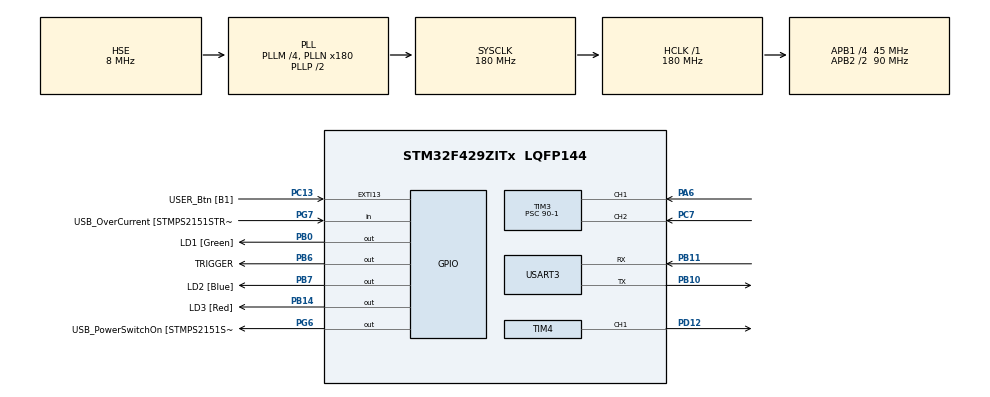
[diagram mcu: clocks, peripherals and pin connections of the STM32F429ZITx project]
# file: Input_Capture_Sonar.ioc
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Mcu.Family=STM32F4
Mcu.Name=STM32F429ZITx
Mcu.Package=LQFP144
NVIC.PriorityGroup=NVIC_PRIORITYGROUP_4
NVIC.TIM3_IRQn=true\:0\:0\:false\:false\:true\:true\:true
NVIC.TIM4_IRQn=true\:0\:0\:false\:false\:true\:true\:true
NVIC.USART3_IRQn=true\:0\:0\:false\:false\:true\:true\:true
PA1.GPIO_Label=RMII_REF_CLK [LAN8742A-CZ-TR_REFCLK0]
PA1.Signal=ETH_REF_CLK
PA10.GPIO_Label=USB_ID
PA10.Signal=USB_OTG_FS_ID
PA11.GPIO_Label=USB_DM
PA11.Signal=USB_OTG_FS_DM
PA12.GPIO_Label=USB_DP
PA12.Signal=USB_OTG_FS_DP
PA13.GPIO_Label=TMS
PA13.Mode=Serial_Wire
PA13.Signal=SYS_JTMS-SWDIO
PA14.GPIO_Label=TCK
PA14.Mode=Serial_Wire
PA14.Signal=SYS_JTCK-SWCLK
PA2.GPIO_Label=RMII_MDIO [LAN8742A-CZ-TR_MDIO]
PA2.Signal=ETH_MDIO
PA6.Signal=S_TIM3_CH1
PA7.GPIO_Label=RMII_CRS_DV [LAN8742A-CZ-TR_CRS_DV]
PA7.Signal=ETH_CRS_DV
PA8.GPIO_Label=USB_SOF [TP1]
PA8.Signal=USB_OTG_FS_SOF
PA9.GPIO_Label=USB_VBUS
PA9.Signal=USB_OTG_FS_VBUS
PB0.GPIO_Label=LD1 [Green]
PB0.Signal=GPIO_Output
PB10.Mode=Asynchronous
PB10.Signal=USART3_TX
PB11.Mode=Asynchronous
PB11.Signal=USART3_RX
PB13.GPIO_Label=RMII_TXD1 [LAN8742A-CZ-TR_TXD1]
PB13.Signal=ETH_TXD1
PB14.GPIO_Label=LD3 [Red]
PB14.Signal=GPIO_Output
PB6.GPIO_Label=TRIGGER
PB6.Signal=GPIO_Output
PB7.GPIO_Label=LD2 [Blue]
PB7.Signal=GPIO_Output
PC1.GPIO_Label=RMII_MDC [LAN8742A-CZ-TR_MDC]
PC1.Signal=ETH_MDC
PC13.GPIO_Label=USER_Btn [B1]
PC13.Signal=GPXTI13
PC14/OSC32_IN.Mode=LSE-External-Oscillator
PC14/OSC32_IN.Signal=RCC_OSC32_IN
PC15/OSC32_OUT.Mode=LSE-External-Oscillator
PC15/OSC32_OUT.Signal=RCC_OSC32_OUT
PC4.GPIO_Label=RMII_RXD0 [LAN8742A-CZ-TR_RXD0]
PC4.Signal=ETH_RXD0
PC5.GPIO_Label=RMII_RXD1 [LAN8742A-CZ-TR_RXD1]
PC5.Signal=ETH_RXD1
PC7.Signal=S_TIM3_CH2
PD12.Signal=S_TIM4_CH1
PG11.GPIO_Label=RMII_TX_EN [LAN8742A-CZ-TR_TXEN]
PG11.Signal=ETH_TX_EN
PG13.GPIO_Label=RMII_TXD0 [LAN8742A-CZ-TR_TXD0]
PG13.Signal=ETH_TXD0
PG6.GPIO_Label=USB_PowerSwitchOn [STMPS2151STR_EN]
PG6.Signal=GPIO_Output
PG7.GPIO_Label=USB_OverCurrent [STMPS2151STR_FAULT]
PG7.Signal=GPIO_Input
PH0/OSC_IN.GPIO_Label=MCO [STM32F103CBT6_PA8]
PH0/OSC_IN.Mode=HSE-External-Clock-Source
PH0/OSC_IN.Signal=RCC_OSC_IN
PH1/OSC_OUT.Mode=HSE-External-Clock-Source
PH1/OSC_OUT.Signal=RCC_OSC_OUT
ProjectManager.HeapSize=0x200
ProjectManager.StackSize=0x400
ProjectManager.TargetToolchain=MDK-ARM V5.32
RCC.48MHZClocksFreq_Value=90000000
RCC.AHBFreq_Value=180000000
RCC.APB1CLKDivider=RCC_HCLK_DIV4
RCC.APB1Freq_Value=45000000
RCC.APB1TimFreq_Value=90000000
RCC.APB2CLKDivider=RCC_HCLK_DIV2
RCC.APB2Freq_Value=90000000
RCC.APB2TimFreq_Value=180000000
RCC.CortexFreq_Value=180000000
RCC.HCLKFreq_Value=180000000
RCC.HSE_VALUE=8000000
RCC.HSI_VALUE=16000000
RCC.PLLM=4
RCC.PLLMUL=RCC_PLL_MUL9
RCC.PLLN=180
RCC.PLLSourceVirtual=RCC_PLLSOURCE_HSE
RCC.PRESCALERUSB=RCC_USBCLKSOURCE_PLL_DIV1_5
RCC.SYSCLKFreq_VALUE=180000000
RCC.SYSCLKSource=RCC_SYSCLKSOURCE_PLLCLK
RCC.SYSCLKSourceVirtual=RCC_SYSCLKSOURCE_PLLCLK
RCC.USBFreq_Value=48000000
RCC.VCOOutputFreq_Value=360000000
SH.S_TIM3_CH1.0=TIM3_CH1,Input_Capture1_from_TI1
SH.S_TIM3_CH2.0=TIM3_CH2,Input_Capture2_from_TI2
SH.S_TIM4_CH1.0=TIM4_CH1,Output Compare1 CH1
TIM3.AutoReloadPreload=TIM_AUTORELOAD_PRELOAD_ENABLE
TIM3.Channel-Input_Capture1_from_TI1=TIM_CHANNEL_1
TIM3.Channel-Input_Capture2_from_TI2=TIM_CHANNEL_2
TIM3.ICFilter_CH1=15
TIM3.ICFilter_CH2=15
TIM3.ICPolarity_CH2=TIM_INPUTCHANNELPOLARITY_FALLING
TIM3.Period=65535
TIM3.Prescaler=90-1
TIM4.AutoReloadPreload=TIM_AUTORELOAD_PRELOAD_ENABLE
TIM4.Channel-Output\ Compare1\ CH1=TIM_CHANNEL_1
TIM4.Period=60000-1
TIM4.Prescaler=150-1
TIM4.Pulse-Output\ Compare1\ CH1=7
USART3.VirtualMode=VM_ASYNC
VP_TIM3_VS_ClockSourceINT.Mode=Internal
VP_TIM4_VS_ClockSourceINT.Mode=Internal
board=NUCLEO-F429ZI

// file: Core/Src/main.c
/* USER CODE BEGIN Header */
/**
  ******************************************************************************
  * @file           : main.c
  * @brief          : Main program body
  ******************************************************************************
  * @attention
  *
  * Copyright (c) 2022 STMicroelectronics.
  * All rights reserved.
  *
  * This software is licensed under terms that can be found in the LICENSE file
  * in the root directory of this software component.
  * If no LICENSE file comes with this software, it is provided AS-IS.
  *
  ******************************************************************************
  */
/* USER CODE END Header */
#include "main.h"
#include "tim.h"
#include "usart.h"
#include "gpio.h"

/* USER CODE BEGIN Includes */
#include "stdio.h"
#include "stdbool.h"
/* USER CODE END Includes */

/* USER CODE BEGIN PV */
volatile uint16_t risingCapture[2];
volatile uint16_t fallingCapture[2];
uint8_t risingCNT = 0;
uint8_t fallingCNT = 0;
uint32_t period, freq, duty;
uint16_t width, distance;

struct __FILE {
    int dummy;
};
FILE __stdout;

/* USER CODE END PV */

void SystemClock_Config(void);
/* USER CODE BEGIN PFP */

int fputc(int ch, FILE *f)
{
  HAL_UART_Transmit(&huart3, (uint8_t *)&ch, 1, 0xFFFF);

  return ch;
}
uint32_t DWT_Delay_Init(void);
void DWT_Delay_us(volatile uint32_t microseconds);
void TriggerEnable(void);

/* USER CODE END PFP */

int main(void)
{

  /* MCU Configuration--------------------------------------------------------*/

  /* Reset of all peripherals, Initializes the Flash interface and the Systick. */
  HAL_Init();

  /* Configure the system clock */
  SystemClock_Config();

  /* Initialize all configured peripherals */
  MX_GPIO_Init();
  MX_TIM3_Init();
  MX_TIM4_Init();
  MX_USART3_UART_Init();
  /* USER CODE BEGIN 2 */
	// timer, channel, array, quantity
	DWT_Delay_Init();
	// HAL_TIM_PeriodElapsedCallback
	HAL_TIM_Base_Start_IT(&htim4);	// Sonar

	// HAL_TIM_OC_DelayElapsedCallback
  HAL_TIM_OC_Start_IT(&htim4, TIM_CHANNEL_1);		// Sonar

	// HAL_TIM_IC_CaptureCallback
	HAL_TIM_IC_Start_IT(&htim3, TIM_CHANNEL_1);
	HAL_TIM_IC_Start_IT(&htim3, TIM_CHANNEL_2);

	printf("start the program\r\n");
	HAL_Delay(2000);
  /* USER CODE END 2 */

  /* Infinite loop */
  /* USER CODE BEGIN WHILE */
  while (1)
  {

		HAL_Delay(100);

		printf("[%5d, %5d]-%5d = %5d => Distance %4d cm| period : %6d | freq : %3d Hz| duty : %d %%\r\n", risingCapture[0], risingCapture[1], fallingCapture[0], width ,distance, period , freq, duty);

    /* USER CODE END WHILE */

  }
}

void SystemClock_Config(void)
{
  RCC_OscInitTypeDef RCC_OscInitStruct = {0};
  RCC_ClkInitTypeDef RCC_ClkInitStruct = {0};

  /** Configure the main internal regulator output voltage
  */
  __HAL_RCC_PWR_CLK_ENABLE();
  __HAL_PWR_VOLTAGESCALING_CONFIG(PWR_REGULATOR_VOLTAGE_SCALE1);
  /** Initializes the RCC Oscillators according to the specified parameters
  * in the RCC_OscInitTypeDef structure.
  */
  RCC_OscInitStruct.OscillatorType = RCC_OSCILLATORTYPE_HSE;
  RCC_OscInitStruct.HSEState = RCC_HSE_BYPASS;
  RCC_OscInitStruct.PLL.PLLState = RCC_PLL_ON;
  RCC_OscInitStruct.PLL.PLLSource = RCC_PLLSOURCE_HSE;
  RCC_OscInitStruct.PLL.PLLM = 4;
  RCC_OscInitStruct.PLL.PLLN = 180;
  RCC_OscInitStruct.PLL.PLLP = RCC_PLLP_DIV2;
  RCC_OscInitStruct.PLL.PLLQ = 4;
  if (HAL_RCC_OscConfig(&RCC_OscInitStruct) != HAL_OK)
  {
    Error_Handler();
  }
  /** Activate the Over-Drive mode
  */
  if (HAL_PWREx_EnableOverDrive() != HAL_OK)
  {
    Error_Handler();
  }
  /** Initializes the CPU, AHB and APB buses clocks
  */
  RCC_ClkInitStruct.ClockType = RCC_CLOCKTYPE_HCLK|RCC_CLOCKTYPE_SYSCLK
                              |RCC_CLOCKTYPE_PCLK1|RCC_CLOCKTYPE_PCLK2;
  RCC_ClkInitStruct.SYSCLKSource = RCC_SYSCLKSOURCE_PLLCLK;
  RCC_ClkInitStruct.AHBCLKDivider = RCC_SYSCLK_DIV1;
  RCC_ClkInitStruct.APB1CLKDivider = RCC_HCLK_DIV4;
  RCC_ClkInitStruct.APB2CLKDivider = RCC_HCLK_DIV2;

  if (HAL_RCC_ClockConfig(&RCC_ClkInitStruct, FLASH_LATENCY_5) != HAL_OK)
  {
    Error_Handler();
  }
}

/* USER CODE BEGIN 4 */

void HAL_TIM_PeriodElapsedCallback(TIM_HandleTypeDef *htim)
{
	if(htim->Instance == TIM4)
	{
		GPIOB->ODR |= 0x01 << 6;  // PB 6 SET
	}
}

void HAL_TIM_OC_DelayElapsedCallback(TIM_HandleTypeDef *htim)
{
	if(htim->Instance == TIM4)
	{
		GPIOB->ODR &= ~(0x01 << 6);	// PB 6	RESET, Pulse
	}
}

void HAL_TIM_IC_CaptureCallback(TIM_HandleTypeDef *htim)
{

	/* Rising */
	if(htim->Instance == TIM3 && htim->Channel == HAL_TIM_ACTIVE_CHANNEL_1)
	{

		risingCapture[risingCNT] = HAL_TIM_ReadCapturedValue(htim, TIM_CHANNEL_1);
		if(risingCNT == 1){
			risingCNT = 0;
			if(risingCapture[0] > risingCapture[1])
			{
				period = TIM3->ARR - risingCapture[0] + risingCapture[1];
				GPIOB->ODR |= LD3_Pin;
			}
			else
			{
				period = risingCapture[1] - risingCapture[0];
			}

			period += TIM3->ARR;	// 65535 + 34000 =>  sonar PSC 150 rising PSC 90
		}
		else
		{
			risingCNT = 1;
			GPIOB->ODR &= ~LD3_Pin;
		}
		GPIOB->ODR |= LD1_Pin;
		GPIOB->ODR &= ~LD2_Pin;

		freq = (HAL_RCC_GetPCLK1Freq()*2)/(htim3.Instance->PSC + 1);	// (45MHz*2) / 90 = 1MHz = 1,000,000 Hz
		freq = freq/period;

	}

	/* Falling */
	if(htim->Instance == TIM3 && htim->Channel == HAL_TIM_ACTIVE_CHANNEL_2)
	{
		fallingCapture[fallingCNT] = HAL_TIM_ReadCapturedValue(htim, TIM_CHANNEL_2);
		if(fallingCNT == 1){
			fallingCNT = 0;
		}else{
			fallingCNT = 1;
		}

		if(fallingCapture[0] >= risingCapture[0] && fallingCapture[0] <= risingCapture[1])
		{
			width = fallingCapture[0] - risingCapture[0];

		}
		else if(fallingCapture[1] >= risingCapture[0] && fallingCapture[1] <= risingCapture[1])
		{
			width = fallingCapture[1] - risingCapture[0];
		}
		GPIOB->ODR &= ~LD1_Pin;
		GPIOB->ODR |= LD2_Pin;

		distance = width / 58;
		if(distance > 400) distance = 400;

		duty = width * 100/period;

	}
}

uint32_t DWT_Delay_Init(void)
{
  /* Disable TRC */
  CoreDebug->DEMCR &= ~CoreDebug_DEMCR_TRCENA_Msk; // ~0x01000000;
  /* Enable TRC */
  CoreDebug->DEMCR |=  CoreDebug_DEMCR_TRCENA_Msk; // 0x01000000;

  /* Disable clock cycle counter */
  DWT->CTRL &= ~DWT_CTRL_CYCCNTENA_Msk; //~0x00000001;
  /* Enable  clock cycle counter */
  DWT->CTRL |=  DWT_CTRL_CYCCNTENA_Msk; //0x00000001;

  /* Reset the clock cycle counter value */
  DWT->CYCCNT = 0;

     /* 3 NO OPERATION instructions */
  __ASM volatile ("NOP");
  __ASM volatile ("NOP");
  __ASM volatile ("NOP");

  /* Check if clock cycle counter has started */
  if(DWT->CYCCNT)
  {
		return 0; /*clock cycle counter started*/
  }
		else
  {
    return 1; /*clock cycle counter not started*/
  }
}

void DWT_Delay_us(volatile uint32_t microseconds)
{
  uint32_t clk_cycle_start = DWT->CYCCNT;

  /* Go to number of cycles for system */
  microseconds *= (HAL_RCC_GetHCLKFreq() / 1000000);

  /* Delay till end */
  while ((DWT->CYCCNT - clk_cycle_start) < microseconds);
}

void TriggerEnable(void)
{
	GPIOB->ODR &= ~TRIGGER_Pin;	// initialize
	DWT_Delay_us(2);
	GPIOB->ODR |= TRIGGER_Pin;	// Trigger signal
	DWT_Delay_us(11);
	GPIOB->ODR &= ~TRIGGER_Pin;	// shut down
}

/* USER CODE END 4 */

void Error_Handler(void)
{
  __disable_irq();
  while (1)
  {
  }
}
